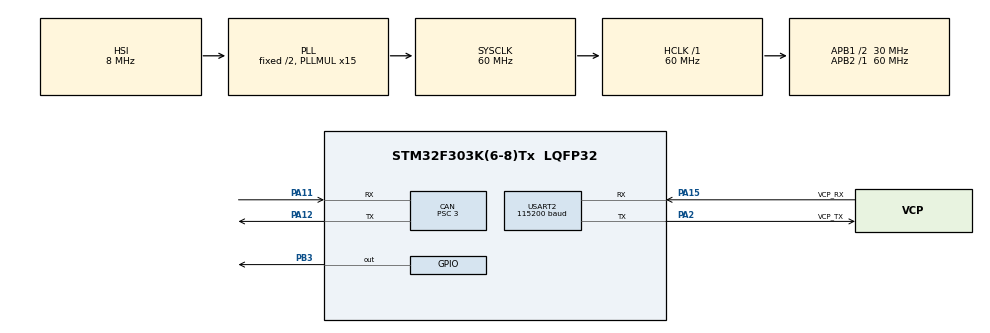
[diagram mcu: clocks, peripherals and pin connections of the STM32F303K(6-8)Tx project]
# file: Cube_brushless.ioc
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CAN.BS1=CAN_BS1_7TQ
CAN.BS2=CAN_BS2_2TQ
CAN.CalculateBaudRate=1000000
CAN.CalculateTimeBit=1000
CAN.CalculateTimeQuantum=100.0
CAN.Prescaler=3
CAN.SJW=CAN_SJW_1TQ
CAN.TXFP=DISABLE
FREERTOS.Tasks01=defaultTask,24,128,StartDefaultTask,Default,NULL,Dynamic,NULL,NULL
Mcu.Family=STM32F3
Mcu.Name=STM32F303K(6-8)Tx
Mcu.Package=LQFP32
NVIC.CAN_RX0_IRQn=true\:5\:0\:false\:false\:true\:true\:true\:true\:true
NVIC.PriorityGroup=NVIC_PRIORITYGROUP_4
NVIC.USART2_IRQn=true\:5\:0\:false\:false\:true\:true\:true\:true\:true
PA11.Mode=CAN_Activate
PA11.Signal=CAN_RX
PA12.Mode=CAN_Activate
PA12.Signal=CAN_TX
PA13.GPIO_Label=SWDIO
PA13.Mode=Serial_Wire
PA13.Signal=SYS_JTMS-SWDIO
PA14.GPIO_Label=SWCLK
PA14.Mode=Serial_Wire
PA14.Signal=SYS_JTCK-SWCLK
PA15.GPIO_Label=VCP_RX
PA15.Mode=Asynchronous
PA15.Signal=USART2_RX
PA2.GPIO_Label=VCP_TX
PA2.Mode=Asynchronous
PA2.Signal=USART2_TX
PB3.Signal=GPIO_Output
PF0\ /\ OSC_IN.GPIO_Label=MCO
PF0\ /\ OSC_IN.Mode=HSE-External-Clock-Source
PF0\ /\ OSC_IN.Signal=RCC_OSC_IN
ProjectManager.HeapSize=0x200
ProjectManager.StackSize=0x400
ProjectManager.TargetToolchain=Makefile
RCC.AHBFreq_Value=60000000
RCC.APB1CLKDivider=RCC_HCLK_DIV2
RCC.APB1Freq_Value=30000000
RCC.APB1TimFreq_Value=60000000
RCC.APB2Freq_Value=60000000
RCC.APB2TimFreq_Value=60000000
RCC.CortexFreq_Value=60000000
RCC.HCLKFreq_Value=60000000
RCC.HSE_VALUE=8000000
RCC.HSI_VALUE=8000000
RCC.PLLMUL=RCC_PLL_MUL15
RCC.SYSCLKFreq_VALUE=60000000
RCC.SYSCLKSourceVirtual=RCC_SYSCLKSOURCE_PLLCLK
USART2.BaudRate=115200
USART2.VirtualMode-Asynchronous=VM_ASYNC
VP_FREERTOS_VS_CMSIS_V2.Mode=CMSIS_V2
board=NUCLEO-F303K8

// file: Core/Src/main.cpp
/* USER CODE BEGIN Header */
/**
  ******************************************************************************
  * @file           : main.c
  * @brief          : Main program body
  ******************************************************************************
  * @attention
  *
  * Copyright (c) 2025 STMicroelectronics.
  * All rights reserved.
  *
  * This software is licensed under terms that can be found in the LICENSE file
  * in the root directory of this software component.
  * If no LICENSE file comes with this software, it is provided AS-IS.
  *
  ******************************************************************************
  */
/* USER CODE END Header */
#include "main.h"
#include "cmsis_os.h"

/* USER CODE BEGIN Includes */
#include "stdio.h"
#include "string.h"
#include "brushless.hpp"
/* USER CODE END Includes */

CAN_HandleTypeDef hcan;

UART_HandleTypeDef huart2;

/* Definitions for defaultTask */
osThreadId_t defaultTaskHandle;
const osThreadAttr_t defaultTask_attributes = {
  .name = "defaultTask",
  .stack_size = 128 * 4,
  .priority = (osPriority_t) osPriorityNormal,
};
/* USER CODE BEGIN PV */
osThreadId_t serialTaskHandle;
const osThreadAttr_t serialTask_attributes = {
  .name = "serialTask",
  .stack_size = 128 * 8,
  .priority = (osPriority_t) osPriorityNormal,
};
/* USER CODE END PV */

void SystemClock_Config(void);
static void MX_GPIO_Init(void);
static void MX_USART2_UART_Init(void);
static void MX_CAN_Init(void);
void StartDefaultTask(void *argument);

/* USER CODE BEGIN PFP */
void StartSerialTask(void *argument);

/* USER CODE END PFP */

/* USER CODE BEGIN 0 */
float sendFl = 0.0;
int id = 0;
uint8_t rx_buffer;
void HAL_UART_RxCpltCallback(UART_HandleTypeDef *huart) {
    if (huart->Instance == USART2) {
        // 受信データの処理

        switch (rx_buffer)
        {
        case '1':
          sendFl += 0.01;
          break;
        case '2':
          sendFl -= 0.01;
          break;
        case 'a':
          id ++;
          break;
        case 's':
          id --;
          break;
        default:
          break;
        }
        // 再度受信割り込みを有効化
        HAL_UART_Receive_IT(huart, &rx_buffer, sizeof(rx_buffer));
    }
}

BrushLess Bl(&hcan);

void HAL_CAN_RxFifo0MsgPendingCallback(CAN_HandleTypeDef *hcan)
{
	Bl.CallBack(hcan);
}
/* USER CODE END 0 */

int main(void)
{

  /* MCU Configuration--------------------------------------------------------*/

  /* Reset of all peripherals, Initializes the Flash interface and the Systick. */
  HAL_Init();

  /* Configure the system clock */
  SystemClock_Config();

  /* Initialize all configured peripherals */
  MX_GPIO_Init();
  MX_USART2_UART_Init();
  MX_CAN_Init();
  /* USER CODE BEGIN 2 */
  HAL_UART_Receive_IT(&huart2, &rx_buffer, sizeof(rx_buffer));
  Bl.Init();
  /* USER CODE END 2 */

  /* Init scheduler */
  osKernelInitialize();

  /* Create the thread(s) */
  /* creation of defaultTask */
  defaultTaskHandle = osThreadNew(StartDefaultTask, NULL, &defaultTask_attributes);

  /* USER CODE BEGIN RTOS_THREADS */
  /* add threads, ... */
  serialTaskHandle = osThreadNew(StartSerialTask, NULL, &serialTask_attributes);

  /* USER CODE END RTOS_THREADS */

  /* Start scheduler */
  osKernelStart();

  /* We should never get here as control is now taken by the scheduler */

  /* Infinite loop */
  while (1)
  {

  }
}

void SystemClock_Config(void)
{
  RCC_OscInitTypeDef RCC_OscInitStruct = {0};
  RCC_ClkInitTypeDef RCC_ClkInitStruct = {0};

  /** Initializes the RCC Oscillators according to the specified parameters
  * in the RCC_OscInitTypeDef structure.
  */
  RCC_OscInitStruct.OscillatorType = RCC_OSCILLATORTYPE_HSI;
  RCC_OscInitStruct.HSIState = RCC_HSI_ON;
  RCC_OscInitStruct.HSICalibrationValue = RCC_HSICALIBRATION_DEFAULT;
  RCC_OscInitStruct.PLL.PLLState = RCC_PLL_ON;
  RCC_OscInitStruct.PLL.PLLSource = RCC_PLLSOURCE_HSI;
  RCC_OscInitStruct.PLL.PLLMUL = RCC_PLL_MUL15;
  if (HAL_RCC_OscConfig(&RCC_OscInitStruct) != HAL_OK)
  {
    Error_Handler();
  }

  /** Initializes the CPU, AHB and APB buses clocks
  */
  RCC_ClkInitStruct.ClockType = RCC_CLOCKTYPE_HCLK|RCC_CLOCKTYPE_SYSCLK
                              |RCC_CLOCKTYPE_PCLK1|RCC_CLOCKTYPE_PCLK2;
  RCC_ClkInitStruct.SYSCLKSource = RCC_SYSCLKSOURCE_PLLCLK;
  RCC_ClkInitStruct.AHBCLKDivider = RCC_SYSCLK_DIV1;
  RCC_ClkInitStruct.APB1CLKDivider = RCC_HCLK_DIV2;
  RCC_ClkInitStruct.APB2CLKDivider = RCC_HCLK_DIV1;

  if (HAL_RCC_ClockConfig(&RCC_ClkInitStruct, FLASH_LATENCY_2) != HAL_OK)
  {
    Error_Handler();
  }
}

static void MX_CAN_Init(void)
{

  hcan.Instance = CAN;
  hcan.Init.Prescaler = 3;
  hcan.Init.Mode = CAN_MODE_NORMAL;
  hcan.Init.SyncJumpWidth = CAN_SJW_1TQ;
  hcan.Init.TimeSeg1 = CAN_BS1_7TQ;
  hcan.Init.TimeSeg2 = CAN_BS2_2TQ;
  hcan.Init.TimeTriggeredMode = DISABLE;
  hcan.Init.AutoBusOff = DISABLE;
  hcan.Init.AutoWakeUp = DISABLE;
  hcan.Init.AutoRetransmission = DISABLE;
  hcan.Init.ReceiveFifoLocked = DISABLE;
  hcan.Init.TransmitFifoPriority = DISABLE;
  if (HAL_CAN_Init(&hcan) != HAL_OK)
  {
    Error_Handler();
  }

}

static void MX_USART2_UART_Init(void)
{

  huart2.Instance = USART2;
  huart2.Init.BaudRate = 115200;
  huart2.Init.WordLength = UART_WORDLENGTH_8B;
  huart2.Init.StopBits = UART_STOPBITS_1;
  huart2.Init.Parity = UART_PARITY_NONE;
  huart2.Init.Mode = UART_MODE_TX_RX;
  huart2.Init.HwFlowCtl = UART_HWCONTROL_NONE;
  huart2.Init.OverSampling = UART_OVERSAMPLING_16;
  huart2.Init.OneBitSampling = UART_ONE_BIT_SAMPLE_DISABLE;
  huart2.AdvancedInit.AdvFeatureInit = UART_ADVFEATURE_NO_INIT;
  if (HAL_UART_Init(&huart2) != HAL_OK)
  {
    Error_Handler();
  }

}

static void MX_GPIO_Init(void)
{
  GPIO_InitTypeDef GPIO_InitStruct = {0};

  /* GPIO Ports Clock Enable */
  __HAL_RCC_GPIOF_CLK_ENABLE();
  __HAL_RCC_GPIOA_CLK_ENABLE();
  __HAL_RCC_GPIOB_CLK_ENABLE();

  /*Configure GPIO pin Output Level */
  HAL_GPIO_WritePin(GPIOB, GPIO_PIN_3, GPIO_PIN_RESET);

  /*Configure GPIO pin : PB3 */
  GPIO_InitStruct.Pin = GPIO_PIN_3;
  GPIO_InitStruct.Mode = GPIO_MODE_OUTPUT_PP;
  GPIO_InitStruct.Pull = GPIO_NOPULL;
  GPIO_InitStruct.Speed = GPIO_SPEED_FREQ_LOW;
  HAL_GPIO_Init(GPIOB, &GPIO_InitStruct);

}

/* USER CODE BEGIN 4 */
void StartSerialTask(void *argument)
{
  /* USER CODE BEGIN 5 */
  /* Infinite loop */
  int iswrite;
  for(;;)
  {

    Bl.SetSpeed(id,sendFl);
    iswrite = Bl.Write();

    char buff[25];
    //int size = sprintf(buff,"hello : %.3f\n",sendData);
    int size = sprintf(buff,"%d : %.3lf : %.5d : %d\n",id,sendFl,Bl.R[id].rpm,Bl.R[id].TC > 250);
		HAL_UART_Transmit(&huart2, (uint8_t *)buff, size, 50);
    osDelay(10);
  }
  /* USER CODE END 5 */
}

/* USER CODE END 4 */

void StartDefaultTask(void *argument)
{
  /* USER CODE BEGIN 5 */
  /* Infinite loop */
  for(;;)
  {
    osDelay(10);
  }
  /* USER CODE END 5 */
}

void Error_Handler(void)
{
  __disable_irq();
  while (1)
  {
  }
}
